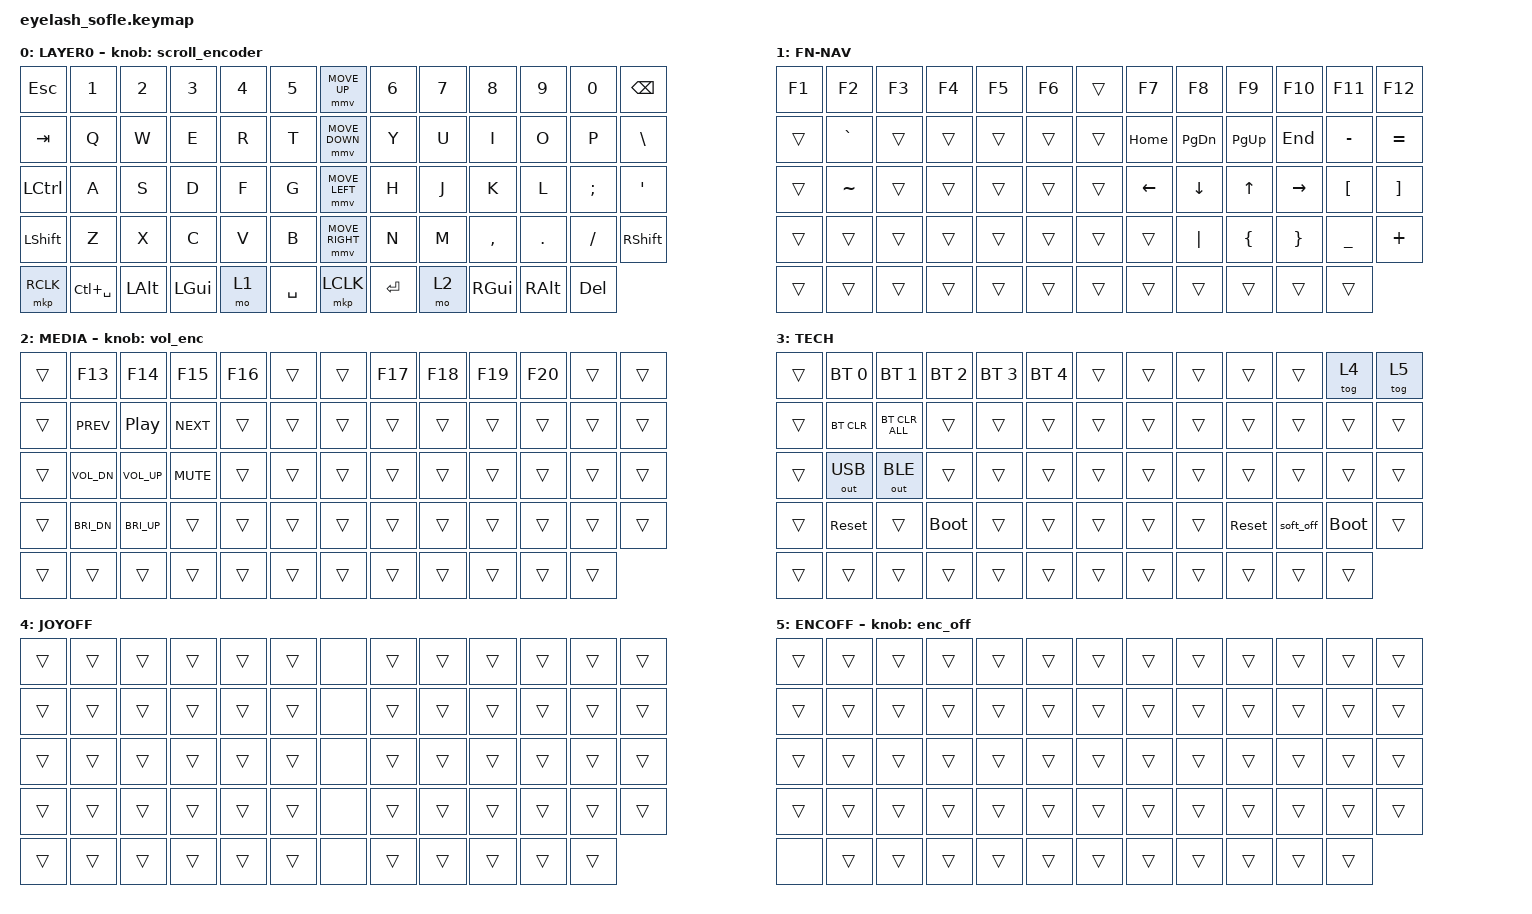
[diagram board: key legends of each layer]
#define ZMK_POINTING_DEFAULT_MOVE_VAL 1000  // 600
#define ZMK_POINTING_DEFAULT_SCRL_VAL 100   // 10

#include <input/processors.dtsi>
#include <zephyr/dt-bindings/input/input-event-codes.h>
#include <behaviors.dtsi>
#include <dt-bindings/zmk/bt.h>
#include <dt-bindings/zmk/keys.h>
#include <dt-bindings/zmk/outputs.h>
#include <dt-bindings/zmk/pointing.h>
#include <dt-bindings/zmk/rgb.h>

&mmv_input_listener { input-processors = <&zip_xy_scaler 2 1>; };

&msc_input_listener { input-processors = <&zip_scroll_scaler 1 1>; };

&msc {
    acceleration-exponent = <0>;      // 0
    time-to-max-speed-ms = <100>;       // 300
    delay-ms = <0>;                   // 0
};

&mmv {
    time-to-max-speed-ms = <300>;
    acceleration-exponent = <1>;
    trigger-period-ms = <16>;
};

&soft_off { hold-time-ms = <2000>; };

/ {
    scroll_encoder: scroll_encoder {
        compatible = "zmk,behavior-sensor-rotate";
        #sensor-binding-cells = <0>;
        bindings = <&msc SCRL_UP>, <&msc SCRL_DOWN>;

        tap-ms = <30>;
    };

    enc_off: enc_off {
        compatible = "zmk,behavior-sensor-rotate";
        #sensor-binding-cells = <0>;
        bindings = <&none>, <&none>;

        tap-ms = <0>;
    };

    vol_enc: vol_enc {
        compatible = "zmk,behavior-sensor-rotate";
        #sensor-binding-cells = <0>;
        bindings = <&kp C_VOL_DN>, <&kp C_VOL_UP>;

        tap-ms = <5>;
    };

    conditional_layers {
        compatible = "zmk,conditional-layers";

        tech_layer {
            if-layers = <1 2>;
            then-layer = <3>;
        };
    };

    combos {
        compatible = "zmk,combos";

        softoff {
            bindings = <&soft_off>;
            key-positions = <14 28 40>;
        };
    };

    macros {
        SHIFT_MCLK: SHIFT_MCLK {
            compatible = "zmk,behavior-macro";
            #binding-cells = <0>;
            bindings =
                <&macro_press>,
                <&kp LEFT_SHIFT>,
                <&macro_press>,
                <&mkp MB3>,
                <&macro_pause_for_release>,
                <&macro_release>,
                <&kp LEFT_SHIFT &mkp MB3>;

            label = "SHIFT_MCLK";
        };
    };

    keymap {
        compatible = "zmk,keymap";

        layer0 {
            bindings = <
&kp ESC     &kp N1     &kp N2        &kp N3        &kp N4  &kp N5       &mmv MOVE_UP     &kp N6     &kp N7     &kp N8     &kp N9           &kp N0      &kp BACKSPACE
&kp TAB     &kp Q      &kp W         &kp E         &kp R   &kp T        &mmv MOVE_DOWN   &kp Y      &kp U      &kp I      &kp O            &kp P       &kp BSLH
&kp LCTRL   &kp A      &kp S         &kp D         &kp F   &kp G        &mmv MOVE_LEFT   &kp H      &kp J      &kp K      &kp L            &kp SEMI    &kp APOS
&kp LSHFT   &kp Z      &kp X         &kp C         &kp V   &kp B        &mmv MOVE_RIGHT  &kp N      &kp M      &kp COMMA  &kp DOT          &kp FSLH    &kp RIGHT_SHIFT
&mkp RCLK   &kp LC(SPACE)  &kp LEFT_ALT  &kp LEFT_GUI  &mo 1   &kp SPACE    &mkp LCLK        &kp ENTER  &mo 2      &kp RIGHT_GUI  &kp RIGHT_ALT  &kp DELETE
            >;

            sensor-bindings = <&scroll_encoder>;
            display-name = "LAYER0";
        };

        layer_1 {
            bindings = <
&kp F1  &kp F2     &kp F3  &kp F4  &kp F5  &kp F6    &trans  &kp F7    &kp F8     &kp F9     &kp F10    &kp F11    &kp F12
&trans  &kp GRAVE  &trans  &trans  &trans  &trans    &trans  &kp HOME  &kp PG_DN  &kp PG_UP  &kp END    &kp MINUS  &kp EQUAL
&trans  &kp TILDE  &trans  &trans  &trans  &trans    &trans  &kp LEFT  &kp DOWN   &kp UP     &kp RIGHT  &kp LBKT   &kp RBKT
&trans  &trans     &trans  &trans  &trans  &trans    &trans  &trans    &kp PIPE   &kp LBRC   &kp RBRC   &kp UNDER  &kp PLUS
&trans  &trans     &trans  &trans  &trans  &trans    &trans  &trans    &trans     &trans     &trans     &trans
            >;

            display-name = "FN-NAV";
        };

        layer_2 {
            bindings = <
&trans  &kp F13       &kp F14       &kp F15     &kp F16  &trans    &trans  &kp F17  &kp F18  &kp F19  &kp F20  &trans  &trans
&trans  &kp C_PREV    &kp C_PP      &kp C_NEXT  &trans   &trans    &trans  &trans   &trans   &trans   &trans   &trans  &trans
&trans  &kp C_VOL_DN  &kp C_VOL_UP  &kp C_MUTE  &trans   &trans    &trans  &trans   &trans   &trans   &trans   &trans  &trans
&trans  &kp C_BRI_DN  &kp C_BRI_UP  &trans      &trans   &trans    &trans  &trans   &trans   &trans   &trans   &trans  &trans
&trans  &trans        &trans        &trans      &trans  &trans    &trans  &trans  &trans  &trans  &trans  &trans
            >;

            display-name = "MEDIA";
            sensor-bindings = <&vol_enc>;
        };

        layer_3 {
            bindings = <
&trans  &bt BT_SEL 0  &bt BT_SEL 1    &bt BT_SEL 2  &bt BT_SEL 3  &bt BT_SEL 4    &trans  &trans  &trans  &trans      &trans     &tog 4       &tog 5
&trans  &bt BT_CLR    &bt BT_CLR_ALL  &trans        &trans        &trans          &trans  &trans  &trans  &trans      &trans     &trans       &trans
&trans  &out OUT_USB  &out OUT_BLE    &trans        &trans        &trans          &trans  &trans  &trans  &trans      &trans     &trans       &trans
&trans  &sys_reset    &trans          &bootloader   &trans        &trans          &trans  &trans  &trans  &sys_reset  &soft_off  &bootloader  &trans
&trans  &trans        &trans          &trans        &trans        &trans          &trans  &trans  &trans  &trans      &trans     &trans
            >;

            display-name = "TECH";
        };

        layer_4 {
            bindings = <
&trans  &trans  &trans  &trans  &trans  &trans    &none   &trans  &trans  &trans  &trans  &trans  &trans
&trans  &trans  &trans  &trans  &trans  &trans    &none   &trans  &trans  &trans  &trans  &trans  &trans
&trans  &trans  &trans  &trans  &trans  &trans    &none   &trans  &trans  &trans  &trans  &trans  &trans
&trans  &trans  &trans  &trans  &trans  &trans    &none   &trans  &trans  &trans  &trans  &trans  &trans
&trans  &trans  &trans  &trans  &trans  &trans    &none   &trans  &trans  &trans  &trans  &trans
            >;

            display-name = "JOYOFF";
        };

        layer_5 {
            bindings = <
&trans  &trans  &trans  &trans  &trans  &trans    &trans  &trans  &trans  &trans  &trans  &trans  &trans
&trans  &trans  &trans  &trans  &trans  &trans    &trans  &trans  &trans  &trans  &trans  &trans  &trans
&trans  &trans  &trans  &trans  &trans  &trans    &trans  &trans  &trans  &trans  &trans  &trans  &trans
&trans  &trans  &trans  &trans  &trans  &trans    &trans  &trans  &trans  &trans  &trans  &trans  &trans
&none   &trans  &trans  &trans  &trans  &trans    &trans  &trans  &trans  &trans  &trans  &trans
            >;

            display-name = "ENCOFF";
            sensor-bindings = <&enc_off>;
        };
    };
};
